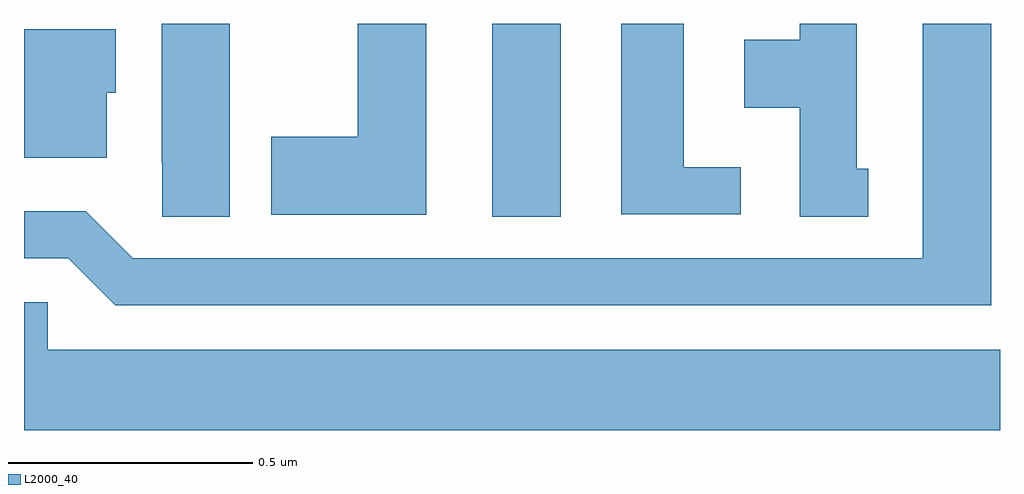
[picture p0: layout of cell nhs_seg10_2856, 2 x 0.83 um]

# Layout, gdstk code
import gdstk
lib = gdstk.Library(unit=1e-6, precision=1e-09)
def R(c, l, rs):  # rectangles x0, y0, x1, y1
    for r in rs: c.add(gdstk.rectangle(r[:2], r[2:], *l))
def P(c, l, *ps):  # polygons
    for p in ps: c.add(gdstk.Polygon(p, *l))
L2000_40 = (2000, 40)

nhs_seg10_2856 = lib.new_cell('nhs_seg10_2856')
R(nhs_seg10_2856, L2000_40, [(146.96,1282.105,147.1,1282.5)])
P(nhs_seg10_2856, L2000_40, [(147.982,1282.5),(147.842,1282.5),(147.842,1282.02),(146.223,1282.02),(146.127,1282.116),(146,1282.116),(146,1282.02),(146.091,1282.02),(146.187,1281.924),(147.982,1281.924)],
  [(147.73,1282.203),(147.706,1282.203),(147.706,1282.5),(147.59,1282.5),(147.59,1282.468),(147.476,1282.468),(147.476,1282.328),(147.59,1282.328),(147.59,1282.105),(147.73,1282.105)],
  [(146.422,1282.5),(146.282,1282.5),(146.282,1282.216),(146.283,1282.216),(146.283,1282.105),(146.422,1282.105)],
  [(147.469,1282.206),(147.352,1282.206),(147.352,1282.5),(147.224,1282.5),(147.224,1282.11),(147.469,1282.11)],
  [(146.824,1282.5),(146.684,1282.5),(146.684,1282.269),(146.507,1282.269),(146.507,1282.109),(146.824,1282.109)],
  [(146.17,1282.359),(146.188,1282.359),(146.188,1282.489),(146,1282.489),(146,1282.226),(146.17,1282.226)],
  [(148,1281.832),(146.049,1281.832),(146.049,1281.93),(146,1281.93),(146,1281.668),(148,1281.668)])

lib.write_gds('nhs_seg10_2856.gds')
